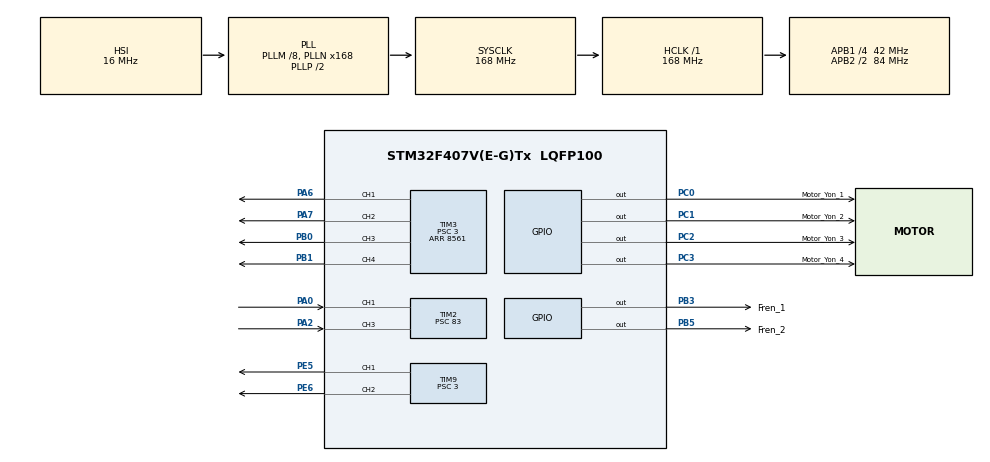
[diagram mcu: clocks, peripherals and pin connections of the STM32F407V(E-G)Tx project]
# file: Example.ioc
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Mcu.Family=STM32F4
Mcu.Name=STM32F407V(E-G)Tx
Mcu.Package=LQFP100
NVIC.PriorityGroup=NVIC_PRIORITYGROUP_4
NVIC.TIM2_IRQn=true\:0\:0\:false\:false\:true\:true\:true\:true
PA0-WKUP.Signal=S_TIM2_CH1_ETR
PA13.Mode=Serial_Wire
PA13.Signal=SYS_JTMS-SWDIO
PA14.Mode=Serial_Wire
PA14.Signal=SYS_JTCK-SWCLK
PA2.GPIO_PuPd=GPIO_PULLUP
PA2.Signal=S_TIM2_CH3
PA6.Signal=S_TIM3_CH1
PA7.Signal=S_TIM3_CH2
PB0.Signal=S_TIM3_CH3
PB1.Signal=S_TIM3_CH4
PB3.GPIO_Label=Fren_1
PB3.Signal=GPIO_Output
PB5.GPIO_Label=Fren_2
PB5.Signal=GPIO_Output
PC0.GPIO_Label=Motor_Yon_1
PC0.Signal=GPIO_Output
PC1.GPIO_Label=Motor_Yon_2
PC1.Signal=GPIO_Output
PC2.GPIO_Label=Motor_Yon_3
PC2.Signal=GPIO_Output
PC3.GPIO_Label=Motor_Yon_4
PC3.Signal=GPIO_Output
PE5.Signal=S_TIM9_CH1
PE6.Signal=S_TIM9_CH2
PH0-OSC_IN.Mode=HSE-External-Oscillator
PH0-OSC_IN.Signal=RCC_OSC_IN
PH1-OSC_OUT.Mode=HSE-External-Oscillator
PH1-OSC_OUT.Signal=RCC_OSC_OUT
ProjectManager.HeapSize=0x200
ProjectManager.StackSize=0x400
ProjectManager.TargetToolchain=STM32CubeIDE
RCC.48MHZClocksFreq_Value=84000000
RCC.AHBFreq_Value=168000000
RCC.APB1CLKDivider=RCC_HCLK_DIV4
RCC.APB1Freq_Value=42000000
RCC.APB1TimFreq_Value=84000000
RCC.APB2CLKDivider=RCC_HCLK_DIV2
RCC.APB2Freq_Value=84000000
RCC.APB2TimFreq_Value=168000000
RCC.CortexFreq_Value=168000000
RCC.HCLKFreq_Value=168000000
RCC.HSE_VALUE=25000000
RCC.HSI_VALUE=16000000
RCC.LSE_VALUE=32768
RCC.PLLM=8
RCC.PLLN=168
RCC.SYSCLKFreq_VALUE=168000000
RCC.SYSCLKSource=RCC_SYSCLKSOURCE_PLLCLK
RCC.VCOOutputFreq_Value=336000000
SH.S_TIM2_CH1_ETR.0=TIM2_CH1,Input_Capture1_from_TI1
SH.S_TIM2_CH3.0=TIM2_CH3,Input_Capture3_from_TI3
SH.S_TIM3_CH1.0=TIM3_CH1,PWM Generation1 CH1
SH.S_TIM3_CH2.0=TIM3_CH2,PWM Generation2 CH2
SH.S_TIM3_CH3.0=TIM3_CH3,PWM Generation3 CH3
SH.S_TIM3_CH4.0=TIM3_CH4,PWM Generation4 CH4
SH.S_TIM9_CH1.0=TIM9_CH1,PWM Generation1 CH1
SH.S_TIM9_CH2.0=TIM9_CH2,PWM Generation2 CH2
TIM2.Channel-Input_Capture1_from_TI1=TIM_CHANNEL_1
TIM2.Channel-Input_Capture3_from_TI3=TIM_CHANNEL_3
TIM2.Period=2040
TIM2.Prescaler=83
TIM3.Channel-PWM\ Generation1\ CH1=TIM_CHANNEL_1
TIM3.Channel-PWM\ Generation2\ CH2=TIM_CHANNEL_2
TIM3.Channel-PWM\ Generation3\ CH3=TIM_CHANNEL_3
TIM3.Channel-PWM\ Generation4\ CH4=TIM_CHANNEL_4
TIM3.Period=8561
TIM3.Prescaler=3
TIM4.Period=8561
TIM4.Prescaler=3
TIM9.Channel-PWM\ Generation1\ CH1=TIM_CHANNEL_1
TIM9.Channel-PWM\ Generation2\ CH2=TIM_CHANNEL_2
TIM9.Period=8561
TIM9.Prescaler=3
VP_TIM2_VS_ClockSourceINT.Mode=Internal
VP_TIM3_VS_ClockSourceINT.Mode=Internal
VP_TIM4_VS_ClockSourceINT.Mode=Internal
VP_TIM9_VS_ClockSourceINT.Mode=Internal
board=custom

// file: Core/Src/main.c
/* USER CODE BEGIN Header */
/**
  ******************************************************************************
  * @file           : main.c
  * @brief          : Main program body
  ******************************************************************************
  * @attention
  *
  * Copyright (c) 2024 STMicroelectronics.
  * All rights reserved.
  *
  * This software is licensed under terms that can be found in the LICENSE file
  * in the root directory of this software component.
  * If no LICENSE file comes with this software, it is provided AS-IS.
  *
  ******************************************************************************
  */
/* USER CODE END Header */
#include "main.h"

/* USER CODE BEGIN Includes */
#include <stdio.h>
#include <math.h>
/* USER CODE END Includes */

TIM_HandleTypeDef htim2;
TIM_HandleTypeDef htim3;
TIM_HandleTypeDef htim4;
TIM_HandleTypeDef htim9;

/* USER CODE BEGIN PV */
uint32_t IC_RisingEdge_PA2 = 0, IC_FallingEdge_PA2 = 0, Ton_PA2 = 0, Toff_PA2 = 0;
float DutyCycle_PA2 = 0;
int Is_RisingCaptured_PA2 = 0;

uint32_t IC_RisingEdge_PA0 = 0, IC_FallingEdge_PA0 = 0, Ton_PA0 = 0, Toff_PA0 = 0;
float DutyCycle_PA0 = 0;
int Is_RisingCaptured_PA0 = 0;

/* USER CODE END PV */

void SystemClock_Config(void);
static void MX_GPIO_Init(void);
static void MX_TIM2_Init(void);
static void MX_TIM4_Init(void);
static void MX_TIM9_Init(void);
static void MX_TIM3_Init(void);

/* USER CODE BEGIN 0 */
void HAL_TIM_IC_CaptureCallback(TIM_HandleTypeDef *htim) {
    if (htim->Instance == TIM2) {
        if (htim->Channel == HAL_TIM_ACTIVE_CHANNEL_3) { // PA2
            if (Is_RisingCaptured_PA2 == 0) {
                IC_RisingEdge_PA2 = HAL_TIM_ReadCapturedValue(htim, TIM_CHANNEL_3);
                Is_RisingCaptured_PA2 = 1;
                __HAL_TIM_SET_CAPTUREPOLARITY(htim, TIM_CHANNEL_3, TIM_INPUTCHANNELPOLARITY_FALLING);
            } else {
                IC_FallingEdge_PA2 = HAL_TIM_ReadCapturedValue(htim, TIM_CHANNEL_3);
                Ton_PA2 = (IC_FallingEdge_PA2 > IC_RisingEdge_PA2) ? (IC_FallingEdge_PA2 - IC_RisingEdge_PA2) : ((htim->Init.Period - IC_RisingEdge_PA2) + IC_FallingEdge_PA2);
                Toff_PA2 = htim->Init.Period - Ton_PA2;
                DutyCycle_PA2 = ((float)Ton_PA2 / (Ton_PA2 + Toff_PA2)) * 100.0;
                Is_RisingCaptured_PA2 = 0;
                __HAL_TIM_SET_CAPTUREPOLARITY(htim, TIM_CHANNEL_3, TIM_INPUTCHANNELPOLARITY_RISING);
            }
        }
        if (htim->Channel == HAL_TIM_ACTIVE_CHANNEL_1) { // PA0
            if (Is_RisingCaptured_PA0 == 0) {
                IC_RisingEdge_PA0 = HAL_TIM_ReadCapturedValue(htim, TIM_CHANNEL_1);
                Is_RisingCaptured_PA0 = 1;
                __HAL_TIM_SET_CAPTUREPOLARITY(htim, TIM_CHANNEL_1, TIM_INPUTCHANNELPOLARITY_FALLING);
            } else {
                IC_FallingEdge_PA0 = HAL_TIM_ReadCapturedValue(htim, TIM_CHANNEL_1);
                Ton_PA0 = (IC_FallingEdge_PA0 > IC_RisingEdge_PA0) ? (IC_FallingEdge_PA0 - IC_RisingEdge_PA0) : ((htim->Init.Period - IC_RisingEdge_PA0) + IC_FallingEdge_PA0);
                Toff_PA0 = htim->Init.Period - Ton_PA0;
                DutyCycle_PA0 = ((float)Ton_PA0 / (Ton_PA0 + Toff_PA0)) * 100.0;
                Is_RisingCaptured_PA0 = 0;
                __HAL_TIM_SET_CAPTUREPOLARITY(htim, TIM_CHANNEL_1, TIM_INPUTCHANNELPOLARITY_RISING);
            }
        }
    }
}

float adjust_input_duty(float raw_duty)
 {
     if (raw_duty < 50.0f)
         return 30.0f - (50.0f - raw_duty) * 0.6f;
     else if (raw_duty > 50.0f)
         return 70.0f + (raw_duty - 50.0f) * 0.6f;
     else
         return 50.0f;
 }
/* USER CODE END 0 */

int main(void)
{

  /* MCU Configuration--------------------------------------------------------*/

  /* Reset of all peripherals, Initializes the Flash interface and the Systick. */
  HAL_Init();

  /* Configure the system clock */
  SystemClock_Config();

  /* Initialize all configured peripherals */
  MX_GPIO_Init();
  MX_TIM2_Init();
  MX_TIM4_Init();
  MX_TIM9_Init();
  MX_TIM3_Init();
  /* USER CODE BEGIN 2 */

  //motorlar
   HAL_TIM_IC_Start_IT(&htim2, TIM_CHANNEL_1); // PA0 INPUT CAPTURE MODE
   HAL_TIM_IC_Start_IT(&htim2, TIM_CHANNEL_3); // PA2 Input Capture

   HAL_TIM_PWM_Start(&htim3, TIM_CHANNEL_1);
   HAL_TIM_PWM_Start(&htim3, TIM_CHANNEL_2);
   HAL_TIM_PWM_Start(&htim3, TIM_CHANNEL_3);
   HAL_TIM_PWM_Start(&htim3, TIM_CHANNEL_4);

  /* USER CODE END 2 */

  /* Infinite loop */
  /* USER CODE BEGIN WHILE */
  while (1)
  {
	   printf("Duty Cycle PA2: %.2f%%, PA0: %.2f%%\r\n", DutyCycle_PA2, DutyCycle_PA0);

		    // ========== Motor 1 - PA2 - TIM_CHANNEL_1 ==========
		    float escDuty1 = adjust_input_duty(DutyCycle_PA2);
		    if (DutyCycle_PA2 < 49.0f)
		    {
		        // Fren kapalı
		        HAL_GPIO_WritePin(GPIOB, GPIO_PIN_3, GPIO_PIN_SET);
		        HAL_GPIO_WritePin(GPIOB, GPIO_PIN_5, GPIO_PIN_RESET);

		        // Geri yön
		        HAL_GPIO_WritePin(GPIOC, GPIO_PIN_0, GPIO_PIN_RESET);

		        uint32_t pwm_val = (uint32_t)fmaxf(((49.0f - escDuty1) / 49.0f) * 8561.0f, 0.0f);
		        __HAL_TIM_SET_COMPARE(&htim3, TIM_CHANNEL_1, pwm_val);
		    }
		    else if (DutyCycle_PA2 > 51.0f)
		    {
		        // Fren kapalı
		        HAL_GPIO_WritePin(GPIOB, GPIO_PIN_3, GPIO_PIN_SET);
		        HAL_GPIO_WritePin(GPIOB, GPIO_PIN_5, GPIO_PIN_RESET);

		        // İleri yön
		        HAL_GPIO_WritePin(GPIOC, GPIO_PIN_0, GPIO_PIN_SET);

		        uint32_t pwm_val = (uint32_t)fmaxf(((escDuty1 - 51.0f) / 49.0f) * 8561.0f, 0.0f);
		        __HAL_TIM_SET_COMPARE(&htim3, TIM_CHANNEL_1, pwm_val);
		    }
		    else
		    {
		        // Fren aktif
		        HAL_GPIO_WritePin(GPIOB, GPIO_PIN_3, GPIO_PIN_RESET);
		        HAL_GPIO_WritePin(GPIOB, GPIO_PIN_5, GPIO_PIN_SET);

		        __HAL_TIM_SET_COMPARE(&htim3, TIM_CHANNEL_1, 0);
		    }

		    // ========== Motor 2 - PA2 - TIM_CHANNEL_2 ==========
		    float escDuty2 = adjust_input_duty(DutyCycle_PA2);
		    if (DutyCycle_PA2 < 49.0f)
		    {
		        HAL_GPIO_WritePin(GPIOB, GPIO_PIN_3, GPIO_PIN_SET);
		        HAL_GPIO_WritePin(GPIOB, GPIO_PIN_5, GPIO_PIN_RESET);

		        HAL_GPIO_WritePin(GPIOC, GPIO_PIN_1, GPIO_PIN_RESET);

		        uint32_t pwm_val = (uint32_t)fmaxf(((49.0f - escDuty2) / 49.0f) * 8561.0f, 0.0f);
		        __HAL_TIM_SET_COMPARE(&htim3, TIM_CHANNEL_2, pwm_val);
		    }
		    else if (DutyCycle_PA2 > 51.0f)
		    {
		        HAL_GPIO_WritePin(GPIOB, GPIO_PIN_3, GPIO_PIN_SET);
		        HAL_GPIO_WritePin(GPIOB, GPIO_PIN_5, GPIO_PIN_RESET);

		        HAL_GPIO_WritePin(GPIOC, GPIO_PIN_1, GPIO_PIN_SET); // YÖN

		        uint32_t pwm_val = (uint32_t)fmaxf(((escDuty2 - 51.0f) / 49.0f) * 8561.0f, 0.0f);
		        __HAL_TIM_SET_COMPARE(&htim3, TIM_CHANNEL_2, pwm_val);
		    }
		    else
		    {
		        HAL_GPIO_WritePin(GPIOB, GPIO_PIN_3, GPIO_PIN_RESET);
		        HAL_GPIO_WritePin(GPIOB, GPIO_PIN_5, GPIO_PIN_SET);

		        __HAL_TIM_SET_COMPARE(&htim3, TIM_CHANNEL_2, 0);
		    }

		    // ========== Motor 3 - PA0 - TIM_CHANNEL_3 ==========
		    float escDuty3 = adjust_input_duty(DutyCycle_PA0);
		    if (DutyCycle_PA0 < 49.0f)
		    {

		        HAL_GPIO_WritePin(GPIOB, GPIO_PIN_3, GPIO_PIN_SET);
		        HAL_GPIO_WritePin(GPIOB, GPIO_PIN_5, GPIO_PIN_RESET);

		        HAL_GPIO_WritePin(GPIOC, GPIO_PIN_2, GPIO_PIN_RESET);

		        uint32_t pwm_val = (uint32_t)fmaxf(((49.0f - escDuty3) / 49.0f) * 8561.0f, 0.0f);
		        __HAL_TIM_SET_COMPARE(&htim3, TIM_CHANNEL_3, pwm_val);
		    }
		    else if (DutyCycle_PA0 > 51.0f)
		    {
		        HAL_GPIO_WritePin(GPIOB, GPIO_PIN_3, GPIO_PIN_SET);
		        HAL_GPIO_WritePin(GPIOB, GPIO_PIN_5, GPIO_PIN_RESET);

		        HAL_GPIO_WritePin(GPIOC, GPIO_PIN_2, GPIO_PIN_SET); //YÖN

		        uint32_t pwm_val = (uint32_t)fmaxf(((escDuty3 - 51.0f) / 49.0f) * 8561.0f, 0.0f);
		        __HAL_TIM_SET_COMPARE(&htim3, TIM_CHANNEL_3, pwm_val);
		    }
		    else
		    {
		        HAL_GPIO_WritePin(GPIOB, GPIO_PIN_3, GPIO_PIN_RESET);
		        HAL_GPIO_WritePin(GPIOB, GPIO_PIN_5, GPIO_PIN_SET);

		        __HAL_TIM_SET_COMPARE(&htim3, TIM_CHANNEL_3, 0);
		    }

		    // ========== Motor 4 - PA0 - TIM_CHANNEL_4 ==========
		    float escDuty4 = adjust_input_duty(DutyCycle_PA0);
		    if (DutyCycle_PA0 < 49.0f)
		    {
		        HAL_GPIO_WritePin(GPIOB, GPIO_PIN_3, GPIO_PIN_SET);
		        HAL_GPIO_WritePin(GPIOB, GPIO_PIN_5, GPIO_PIN_RESET);

		        HAL_GPIO_WritePin(GPIOC, GPIO_PIN_3, GPIO_PIN_RESET); // YÖN

		        uint32_t pwm_val = (uint32_t)fmaxf(((49.0f - escDuty4) / 49.0f) * 8561.0f, 0.0f);
		        __HAL_TIM_SET_COMPARE(&htim3, TIM_CHANNEL_4, pwm_val);
		    }
		    else if (DutyCycle_PA0 > 51.0f)
		    {
		        HAL_GPIO_WritePin(GPIOB, GPIO_PIN_3, GPIO_PIN_SET);
		        HAL_GPIO_WritePin(GPIOB, GPIO_PIN_5, GPIO_PIN_RESET);

		        HAL_GPIO_WritePin(GPIOC, GPIO_PIN_3, GPIO_PIN_SET);   // YÖN

		        uint32_t pwm_val = (uint32_t)fmaxf(((escDuty4 - 51.0f) / 49.0f) * 8561.0f, 0.0f);
		        __HAL_TIM_SET_COMPARE(&htim3, TIM_CHANNEL_4, pwm_val);
		    }
		    else
		    {
		        HAL_GPIO_WritePin(GPIOB, GPIO_PIN_3, GPIO_PIN_RESET);
		        HAL_GPIO_WritePin(GPIOB, GPIO_PIN_5, GPIO_PIN_SET);

		        __HAL_TIM_SET_COMPARE(&htim3, TIM_CHANNEL_4, 0);
		    }

    /* USER CODE END WHILE */

  }
}

void SystemClock_Config(void)
{
  RCC_OscInitTypeDef RCC_OscInitStruct = {0};
  RCC_ClkInitTypeDef RCC_ClkInitStruct = {0};

  /** Configure the main internal regulator output voltage
  */
  __HAL_RCC_PWR_CLK_ENABLE();
  __HAL_PWR_VOLTAGESCALING_CONFIG(PWR_REGULATOR_VOLTAGE_SCALE1);

  /** Initializes the RCC Oscillators according to the specified parameters
  * in the RCC_OscInitTypeDef structure.
  */
  RCC_OscInitStruct.OscillatorType = RCC_OSCILLATORTYPE_HSI;
  RCC_OscInitStruct.HSIState = RCC_HSI_ON;
  RCC_OscInitStruct.HSICalibrationValue = RCC_HSICALIBRATION_DEFAULT;
  RCC_OscInitStruct.PLL.PLLState = RCC_PLL_ON;
  RCC_OscInitStruct.PLL.PLLSource = RCC_PLLSOURCE_HSI;
  RCC_OscInitStruct.PLL.PLLM = 8;
  RCC_OscInitStruct.PLL.PLLN = 168;
  RCC_OscInitStruct.PLL.PLLP = RCC_PLLP_DIV2;
  RCC_OscInitStruct.PLL.PLLQ = 4;
  if (HAL_RCC_OscConfig(&RCC_OscInitStruct) != HAL_OK)
  {
    Error_Handler();
  }

  /** Initializes the CPU, AHB and APB buses clocks
  */
  RCC_ClkInitStruct.ClockType = RCC_CLOCKTYPE_HCLK|RCC_CLOCKTYPE_SYSCLK
                              |RCC_CLOCKTYPE_PCLK1|RCC_CLOCKTYPE_PCLK2;
  RCC_ClkInitStruct.SYSCLKSource = RCC_SYSCLKSOURCE_PLLCLK;
  RCC_ClkInitStruct.AHBCLKDivider = RCC_SYSCLK_DIV1;
  RCC_ClkInitStruct.APB1CLKDivider = RCC_HCLK_DIV4;
  RCC_ClkInitStruct.APB2CLKDivider = RCC_HCLK_DIV2;

  if (HAL_RCC_ClockConfig(&RCC_ClkInitStruct, FLASH_LATENCY_5) != HAL_OK)
  {
    Error_Handler();
  }
}

static void MX_TIM2_Init(void)
{

  TIM_ClockConfigTypeDef sClockSourceConfig = {0};
  TIM_MasterConfigTypeDef sMasterConfig = {0};
  TIM_IC_InitTypeDef sConfigIC = {0};

  htim2.Instance = TIM2;
  htim2.Init.Prescaler = 83;
  htim2.Init.CounterMode = TIM_COUNTERMODE_UP;
  htim2.Init.Period = 2040;
  htim2.Init.ClockDivision = TIM_CLOCKDIVISION_DIV1;
  htim2.Init.AutoReloadPreload = TIM_AUTORELOAD_PRELOAD_DISABLE;
  if (HAL_TIM_Base_Init(&htim2) != HAL_OK)
  {
    Error_Handler();
  }
  sClockSourceConfig.ClockSource = TIM_CLOCKSOURCE_INTERNAL;
  if (HAL_TIM_ConfigClockSource(&htim2, &sClockSourceConfig) != HAL_OK)
  {
    Error_Handler();
  }
  if (HAL_TIM_IC_Init(&htim2) != HAL_OK)
  {
    Error_Handler();
  }
  sMasterConfig.MasterOutputTrigger = TIM_TRGO_RESET;
  sMasterConfig.MasterSlaveMode = TIM_MASTERSLAVEMODE_DISABLE;
  if (HAL_TIMEx_MasterConfigSynchronization(&htim2, &sMasterConfig) != HAL_OK)
  {
    Error_Handler();
  }
  sConfigIC.ICPolarity = TIM_INPUTCHANNELPOLARITY_RISING;
  sConfigIC.ICSelection = TIM_ICSELECTION_DIRECTTI;
  sConfigIC.ICPrescaler = TIM_ICPSC_DIV1;
  sConfigIC.ICFilter = 0;
  if (HAL_TIM_IC_ConfigChannel(&htim2, &sConfigIC, TIM_CHANNEL_1) != HAL_OK)
  {
    Error_Handler();
  }
  if (HAL_TIM_IC_ConfigChannel(&htim2, &sConfigIC, TIM_CHANNEL_3) != HAL_OK)
  {
    Error_Handler();
  }

}

static void MX_TIM3_Init(void)
{

  TIM_ClockConfigTypeDef sClockSourceConfig = {0};
  TIM_MasterConfigTypeDef sMasterConfig = {0};
  TIM_OC_InitTypeDef sConfigOC = {0};

  htim3.Instance = TIM3;
  htim3.Init.Prescaler = 3;
  htim3.Init.CounterMode = TIM_COUNTERMODE_UP;
  htim3.Init.Period = 8561;
  htim3.Init.ClockDivision = TIM_CLOCKDIVISION_DIV1;
  htim3.Init.AutoReloadPreload = TIM_AUTORELOAD_PRELOAD_DISABLE;
  if (HAL_TIM_Base_Init(&htim3) != HAL_OK)
  {
    Error_Handler();
  }
  sClockSourceConfig.ClockSource = TIM_CLOCKSOURCE_INTERNAL;
  if (HAL_TIM_ConfigClockSource(&htim3, &sClockSourceConfig) != HAL_OK)
  {
    Error_Handler();
  }
  if (HAL_TIM_PWM_Init(&htim3) != HAL_OK)
  {
    Error_Handler();
  }
  sMasterConfig.MasterOutputTrigger = TIM_TRGO_RESET;
  sMasterConfig.MasterSlaveMode = TIM_MASTERSLAVEMODE_DISABLE;
  if (HAL_TIMEx_MasterConfigSynchronization(&htim3, &sMasterConfig) != HAL_OK)
  {
    Error_Handler();
  }
  sConfigOC.OCMode = TIM_OCMODE_PWM1;
  sConfigOC.Pulse = 0;
  sConfigOC.OCPolarity = TIM_OCPOLARITY_HIGH;
  sConfigOC.OCFastMode = TIM_OCFAST_DISABLE;
  if (HAL_TIM_PWM_ConfigChannel(&htim3, &sConfigOC, TIM_CHANNEL_1) != HAL_OK)
  {
    Error_Handler();
  }
  if (HAL_TIM_PWM_ConfigChannel(&htim3, &sConfigOC, TIM_CHANNEL_2) != HAL_OK)
  {
    Error_Handler();
  }
  if (HAL_TIM_PWM_ConfigChannel(&htim3, &sConfigOC, TIM_CHANNEL_3) != HAL_OK)
  {
    Error_Handler();
  }
  if (HAL_TIM_PWM_ConfigChannel(&htim3, &sConfigOC, TIM_CHANNEL_4) != HAL_OK)
  {
    Error_Handler();
  }
  HAL_TIM_MspPostInit(&htim3);

}

static void MX_TIM4_Init(void)
{

  TIM_ClockConfigTypeDef sClockSourceConfig = {0};
  TIM_MasterConfigTypeDef sMasterConfig = {0};

  htim4.Instance = TIM4;
  htim4.Init.Prescaler = 3;
  htim4.Init.CounterMode = TIM_COUNTERMODE_UP;
  htim4.Init.Period = 8561;
  htim4.Init.ClockDivision = TIM_CLOCKDIVISION_DIV1;
  htim4.Init.AutoReloadPreload = TIM_AUTORELOAD_PRELOAD_DISABLE;
  if (HAL_TIM_Base_Init(&htim4) != HAL_OK)
  {
    Error_Handler();
  }
  sClockSourceConfig.ClockSource = TIM_CLOCKSOURCE_INTERNAL;
  if (HAL_TIM_ConfigClockSource(&htim4, &sClockSourceConfig) != HAL_OK)
  {
    Error_Handler();
  }
  sMasterConfig.MasterOutputTrigger = TIM_TRGO_RESET;
  sMasterConfig.MasterSlaveMode = TIM_MASTERSLAVEMODE_DISABLE;
  if (HAL_TIMEx_MasterConfigSynchronization(&htim4, &sMasterConfig) != HAL_OK)
  {
    Error_Handler();
  }

}

static void MX_TIM9_Init(void)
{

  TIM_ClockConfigTypeDef sClockSourceConfig = {0};
  TIM_OC_InitTypeDef sConfigOC = {0};

  htim9.Instance = TIM9;
  htim9.Init.Prescaler = 3;
  htim9.Init.CounterMode = TIM_COUNTERMODE_UP;
  htim9.Init.Period = 8561;
  htim9.Init.ClockDivision = TIM_CLOCKDIVISION_DIV1;
  htim9.Init.AutoReloadPreload = TIM_AUTORELOAD_PRELOAD_DISABLE;
  if (HAL_TIM_Base_Init(&htim9) != HAL_OK)
  {
    Error_Handler();
  }
  sClockSourceConfig.ClockSource = TIM_CLOCKSOURCE_INTERNAL;
  if (HAL_TIM_ConfigClockSource(&htim9, &sClockSourceConfig) != HAL_OK)
  {
    Error_Handler();
  }
  if (HAL_TIM_PWM_Init(&htim9) != HAL_OK)
  {
    Error_Handler();
  }
  sConfigOC.OCMode = TIM_OCMODE_PWM1;
  sConfigOC.Pulse = 0;
  sConfigOC.OCPolarity = TIM_OCPOLARITY_HIGH;
  sConfigOC.OCFastMode = TIM_OCFAST_DISABLE;
  if (HAL_TIM_PWM_ConfigChannel(&htim9, &sConfigOC, TIM_CHANNEL_1) != HAL_OK)
  {
    Error_Handler();
  }
  if (HAL_TIM_PWM_ConfigChannel(&htim9, &sConfigOC, TIM_CHANNEL_2) != HAL_OK)
  {
    Error_Handler();
  }
  HAL_TIM_MspPostInit(&htim9);

}

static void MX_GPIO_Init(void)
{
  GPIO_InitTypeDef GPIO_InitStruct = {0};

  /* GPIO Ports Clock Enable */
  __HAL_RCC_GPIOE_CLK_ENABLE();
  __HAL_RCC_GPIOH_CLK_ENABLE();
  __HAL_RCC_GPIOC_CLK_ENABLE();
  __HAL_RCC_GPIOA_CLK_ENABLE();
  __HAL_RCC_GPIOB_CLK_ENABLE();

  /*Configure GPIO pin Output Level */
  HAL_GPIO_WritePin(GPIOC, GPIO_PIN_0|GPIO_PIN_1|GPIO_PIN_2|GPIO_PIN_3, GPIO_PIN_RESET);

  /*Configure GPIO pin Output Level */
  HAL_GPIO_WritePin(GPIOB, Fren_1_Pin|GPIO_PIN_5, GPIO_PIN_RESET);

  /*Configure GPIO pins : PC0 PC1 PC2 PC3 */
  GPIO_InitStruct.Pin = GPIO_PIN_0|GPIO_PIN_1|GPIO_PIN_2|GPIO_PIN_3;
  GPIO_InitStruct.Mode = GPIO_MODE_OUTPUT_PP;
  GPIO_InitStruct.Pull = GPIO_NOPULL;
  GPIO_InitStruct.Speed = GPIO_SPEED_FREQ_LOW;
  HAL_GPIO_Init(GPIOC, &GPIO_InitStruct);

  /*Configure GPIO pins : Fren_1_Pin PB5 */
  GPIO_InitStruct.Pin = Fren_1_Pin|GPIO_PIN_5;
  GPIO_InitStruct.Mode = GPIO_MODE_OUTPUT_PP;
  GPIO_InitStruct.Pull = GPIO_NOPULL;
  GPIO_InitStruct.Speed = GPIO_SPEED_FREQ_LOW;
  HAL_GPIO_Init(GPIOB, &GPIO_InitStruct);

}

/* USER CODE BEGIN 4 */
int _write(int file, char *ptr, int len)
{
  (void)file;
  int DataIdx;

  for (DataIdx = 0; DataIdx < len; DataIdx++)
  {
    ITM_SendChar(*ptr++);
  }
  return len;
}
/* USER CODE END 4 */

void Error_Handler(void)
{
  __disable_irq();
  while (1)
  {
  }
}
